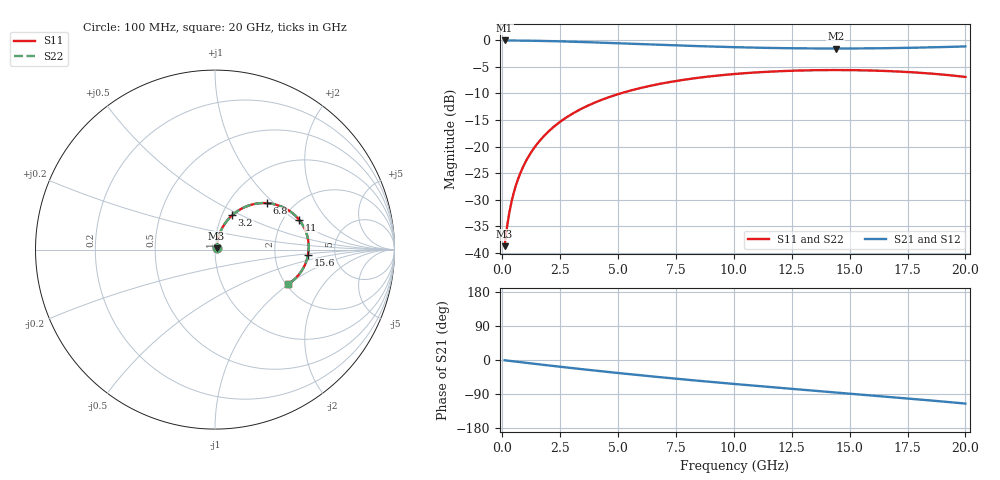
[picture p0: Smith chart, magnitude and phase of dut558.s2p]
! Touchstone file exported from HFSS 2026.1.0
!  File:  C:/ffzhzh/LocalFiles/Ansys_Project_Files/temp_train_TSV_RDL_558_1783116038_35180.aedt
!  Generated:  06:10:38 AM Jul  4, 2026
!  Design:  TSV_RDL
!  Project:  temp_train_TSV_RDL_558_1783116038_35180
! Variables:
!  h_bsmrdl = 5.25um
!  h_ox = 20um
!  h_rdl = 5um
!  h_sub = 78.66um
!  h_tmrdl = 5.05um
!  h_tsv = 78.66um
!  h_via = 3um
!  l_bsmrdl = 223.93um
!  l_sub = 1903.72um
!  l_tmrdl = 178.2um
!  m_sub = 200um
!  pitch = 48.09um
!  r_tsv = 4.78um
!  s_tmrdl = 10um
!  w_bsmrdl = 25.73um
!  w_sub = 500um
!  w_tmrdl = 13.98um
!  x_tsv_center1 = 185.19um
!  x_tsv_center2 = 434.85um
!  x_tsv_center3 = 627.03um
!  x_tsv_center4 = 876.69um
!  x_tsv_center5 = 1068.87um
!  x_tsv_center6 = 1318.53um
# GHz S MA R 50.000000
! Terminal data exported
! Port[1] = TM_RDL1_1_T1
! Port[2] = TM_RDL5_1_T1
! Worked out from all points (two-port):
!   200 points, 100 MHz to 20 GHz, reference 50 ohm
!   highest |S21| = -0.08 dB at 100 MHz (marker M1); lowest = -1.6 dB at 14.4 GHz (marker M2)
!   |S21| within 3 dB of the highest: start of sweep to end of sweep
!   lowest |S11| = -38.7 dB at 100 MHz (marker M3), VSWR 1.02, Z = 50.9 + j0.746 ohm
!   |S11| at or under -10 dB: start of sweep to 5.126 GHz
!   |S22| runs from -38.7 to -5.6 dB; largest |S21 - S12| = 4.6e-14
!   S11 on the Smith chart (normalised r, x): 100 MHz: 1.02, +0.01; 3.2 GHz: 1.12, +0.45; 6.8 GHz: 1.48, +0.90; 11 GHz: 2.42, +1.07; 15.6 GHz: 3.14, -0.24; 20 GHz: 2.05, -0.99
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0.1  0.01158 39.3  0.9911 -0.7  0.9911 -0.7  0.01158 39.3
! Gamma 0 0 0 0
! Port Impedance 50 0 50 0
0.2  0.01731 56.6  0.9907 -1.5  0.9907 -1.5  0.01731 56.6
0.3  0.02373 64.5  0.9904 -2.2  0.9904 -2.2  0.02373 64.5
0.4  0.03038 68.7  0.99 -2.9  0.99 -2.9  0.03038 68.7
0.5  0.03713 71.1  0.9897 -3.6  0.9897 -3.6  0.03713 71.1
0.7  0.0508 73.6  0.9888 -5.1  0.9888 -5.1  0.0508 73.6
1  0.0714 74.4  0.9871 -7.2  0.9871 -7.2  0.0714 74.4
1.4  0.09868 73.5  0.9842 -10.1  0.9842 -10.1  0.09868 73.5
1.9  0.1321 71.2  0.9794 -13.6  0.9794 -13.6  0.1321 71.2
2.5  0.1707 67.8  0.9722 -17.8  0.9722 -17.8  0.1707 67.8
3.2  0.2134 63.5  0.9624 -22.6  0.9624 -22.6  0.2134 63.5
3.5  0.2309 61.6  0.9578 -24.6  0.9578 -24.6  0.2309 61.6
5  0.3102 52.4  0.933 -34.3  0.933 -34.3  0.3102 52.4
6.8  0.3875 41.9  0.9025 -45.3  0.9025 -45.3  0.3875 41.9
8.4  0.4403 33.1  0.8778 -54.4  0.8778 -54.4  0.4403 33.1
10.1  0.4812 24.2  0.8563 -63.7  0.8563 -63.7  0.4812 24.2
11  0.4969 19.6  0.8475 -68.4  0.8475 -68.4  0.4969 19.6
13.4  0.5204 7.7  0.8338 -80.7  0.8338 -80.7  0.5204 7.7
14.4  0.5226 2.8  0.8325 -85.7  0.8325 -85.7  0.5226 2.8
15.6  0.5194 -3.0  0.8344 -91.8  0.8344 -91.8  0.5194 -3.0
16.7  0.5107 -8.4  0.8394 -97.4  0.8394 -97.4  0.5108 -8.4
20  0.4501 -25.4  0.8709 -115.0  0.8709 -115.0  0.4501 -25.4
